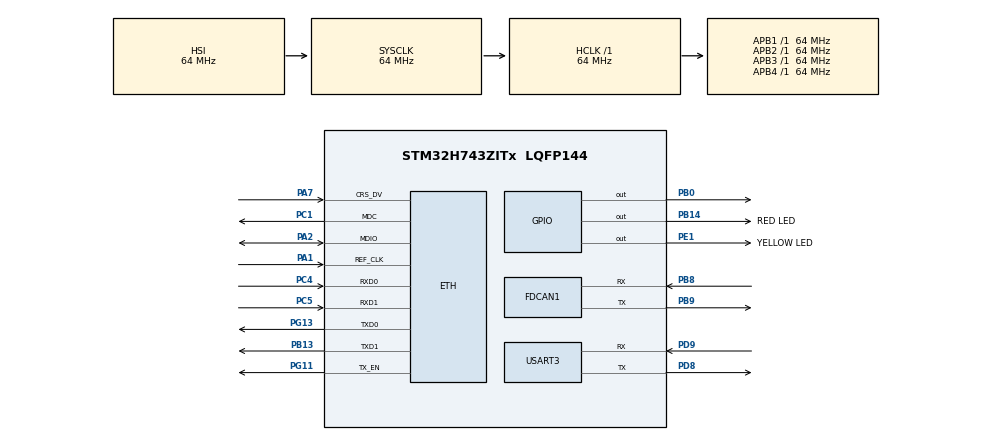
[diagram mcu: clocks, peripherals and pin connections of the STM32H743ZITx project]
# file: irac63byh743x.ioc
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CORTEX_M7.AccessPermission-Cortex_Memory_Protection_Unit_Region0_Settings=MPU_REGION_FULL_ACCESS
CORTEX_M7.AccessPermission-Cortex_Memory_Protection_Unit_Region1_Settings=MPU_REGION_FULL_ACCESS
CORTEX_M7.BaseAddress-Cortex_Memory_Protection_Unit_Region0_Settings=0x30040000
CORTEX_M7.BaseAddress-Cortex_Memory_Protection_Unit_Region1_Settings=0x30044000
CORTEX_M7.CPU_DCache=Enabled
CORTEX_M7.CPU_ICache=Enabled
CORTEX_M7.DisableExec-Cortex_Memory_Protection_Unit_Region0_Settings=MPU_INSTRUCTION_ACCESS_ENABLE
CORTEX_M7.DisableExec-Cortex_Memory_Protection_Unit_Region1_Settings=MPU_INSTRUCTION_ACCESS_ENABLE
CORTEX_M7.Enable-Cortex_Memory_Protection_Unit_Region0_Settings=MPU_REGION_ENABLE
CORTEX_M7.Enable-Cortex_Memory_Protection_Unit_Region1_Settings=MPU_REGION_ENABLE
CORTEX_M7.IsBufferable-Cortex_Memory_Protection_Unit_Region0_Settings=MPU_ACCESS_NOT_BUFFERABLE
CORTEX_M7.IsBufferable-Cortex_Memory_Protection_Unit_Region1_Settings=MPU_ACCESS_NOT_BUFFERABLE
CORTEX_M7.IsCacheable-Cortex_Memory_Protection_Unit_Region1_Settings=MPU_ACCESS_CACHEABLE
CORTEX_M7.IsShareable-Cortex_Memory_Protection_Unit_Region1_Settings=MPU_ACCESS_NOT_SHAREABLE
CORTEX_M7.MPU_Control=MPU_PRIVILEGED_DEFAULT
CORTEX_M7.Size-Cortex_Memory_Protection_Unit_Region0_Settings=MPU_REGION_SIZE_16KB
CORTEX_M7.Size-Cortex_Memory_Protection_Unit_Region1_Settings=MPU_REGION_SIZE_16KB
CORTEX_M7.TypeExtField-Cortex_Memory_Protection_Unit_Region0_Settings=MPU_TEX_LEVEL1
CORTEX_M7.TypeExtField-Cortex_Memory_Protection_Unit_Region1_Settings=MPU_TEX_LEVEL0
ETH.MediaInterface=HAL_ETH_RMII_MODE
FDCAN1.AutoRetransmission=ENABLE
FDCAN1.DataPrescaler=32
FDCAN1.DataSyncJumpWidth=8
FDCAN1.DataTimeSeg1=31
FDCAN1.DataTimeSeg2=8
FDCAN1.ExtFiltersNbr=0
FDCAN1.NominalPrescaler=32
FDCAN1.NominalSyncJumpWidth=8
FDCAN1.NominalTimeSeg1=31
FDCAN1.NominalTimeSeg2=8
FDCAN1.ProtocolException=ENABLE
FDCAN1.RxBufferSize=FDCAN_DATA_BYTES_8
FDCAN1.RxBuffersNbr=1
FDCAN1.RxFifo0ElmtSize=FDCAN_DATA_BYTES_8
FDCAN1.RxFifo0ElmtsNbr=2
FDCAN1.RxFifo1ElmtSize=FDCAN_DATA_BYTES_8
FDCAN1.RxFifo1ElmtsNbr=2
FDCAN1.StdFiltersNbr=0
FDCAN1.TxBuffersNbr=1
FDCAN1.TxElmtSize=FDCAN_DATA_BYTES_8
FDCAN1.TxEventsNbr=2
FDCAN1.TxFifoQueueElmtsNbr=2
LWIP.BSP.number=1
LWIP.LWIP_SNMP=1
LWIP.LWIP_SNMP_V3=0
LWIP.Version=v2.0.3_Cube
LWIP0.BSP.STBoard=false
LWIP0.BSP.api=BSP_COMPONENT_DRIVER
LWIP0.BSP.component=LAN8742
LWIP0.BSP.i2caddr=0
LWIP0.BSP.instance=LAN8742
LWIP0.BSP.name=Driver_PHY
LWIP0.BSP.solution=LAN8742
Mcu.Family=STM32H7
Mcu.Name=STM32H743ZITx
Mcu.Package=LQFP144
NVIC.ETH_IRQn=true\:0\:0\:false\:false\:true\:true\:true
NVIC.FDCAN1_IT0_IRQn=true\:0\:0\:false\:false\:true\:true\:true
NVIC.FDCAN1_IT1_IRQn=true\:0\:0\:false\:false\:true\:true\:true
NVIC.FDCAN_CAL_IRQn=true\:0\:0\:false\:false\:true\:true\:true
NVIC.PriorityGroup=NVIC_PRIORITYGROUP_4
NVIC.USART3_IRQn=true\:0\:0\:false\:false\:true\:true\:true
PA1.Mode=RMII
PA1.Signal=ETH_REF_CLK
PA2.Mode=RMII
PA2.Signal=ETH_MDIO
PA7.Mode=RMII
PA7.Signal=ETH_CRS_DV
PB0.Signal=GPIO_Output
PB13.Mode=RMII
PB13.Signal=ETH_TXD1
PB14.GPIO_Label=RED LED
PB14.Signal=GPIO_Output
PB8.Mode=FDCANMaster
PB8.Signal=FDCAN1_RX
PB9.Mode=FDCANMaster
PB9.Signal=FDCAN1_TX
PC1.Mode=RMII
PC1.Signal=ETH_MDC
PC4.Mode=RMII
PC4.Signal=ETH_RXD0
PC5.Mode=RMII
PC5.Signal=ETH_RXD1
PD8.Mode=Asynchronous
PD8.Signal=USART3_TX
PD9.Mode=Asynchronous
PD9.Signal=USART3_RX
PE1.GPIO_Label=YELLOW LED
PE1.Signal=GPIO_Output
PG11.Mode=RMII
PG11.Signal=ETH_TX_EN
PG13.Mode=RMII
PG13.Signal=ETH_TXD0
ProjectManager.HeapSize=0x200
ProjectManager.StackSize=0x400
ProjectManager.TargetToolchain=STM32CubeIDE
RCC.ADCFreq_Value=129000000
RCC.APB1Freq_Value=64000000
RCC.APB2Freq_Value=64000000
RCC.APB3Freq_Value=64000000
RCC.APB4Freq_Value=64000000
RCC.CortexFreq_Value=64000000
RCC.DIVM1=4
RCC.DIVN1=10
RCC.HCLKFreq_Value=64000000
RCC.SYSCLKFreq_VALUE=64000000
RCC.USBFreq_Value=80000000
USART3.VirtualMode-Asynchronous=VM_ASYNC
VP_LWIP_VS_Enabled.Mode=Enabled
board=custom

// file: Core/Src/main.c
/* USER CODE BEGIN Header */
/**
  ******************************************************************************
  * @file           : main.c
  * @brief          : Main program body
  ******************************************************************************
  * @attention
  *
  * <h2><center>&copy; Copyright (c) 2020 STMicroelectronics.
  * All rights reserved.</center></h2>
  *
  * This software component is licensed by ST under BSD 3-Clause license,
  * the "License"; You may not use this file except in compliance with the
  * License. You may obtain a copy of the License at:
  *                        opensource.org/licenses/BSD-3-Clause
  *
  ******************************************************************************
  */
/* USER CODE END Header */

#include "main.h"
#include "lwip.h"

/* USER CODE BEGIN Includes */
#include "stdio.h"
#include "stdlib.h"
#include "string.h"
#include "snmp_mib2.h"
#include "snmp_scalar.h"
#include "snmp.h"
#include "bzQueue.h"
/* USER CODE END Includes */

/* USER CODE BEGIN PTD */
typedef enum {
	emLED_RED		= 0,
	emLED_YELLOW,
	emLED_GREEN,
	emLED_ID_NUM,
} LEDId;

typedef enum {
	emLED_ON		= 0,
	emLED_OFF,
	emLED_ST_NUM,
} LEDStatus;
/* USER CODE END PTD */

/* USER CODE BEGIN PD */
#define MAX_CMD_LEN	(32)

#define MAX_DHCP_TRIES  4
#define DHCP_OFF                   (uint8_t) 0
#define DHCP_START                 (uint8_t) 1
#define DHCP_WAIT_ADDRESS          (uint8_t) 2
#define DHCP_ADDRESS_ASSIGNED      (uint8_t) 3
#define DHCP_TIMEOUT               (uint8_t) 4
#define DHCP_LINK_DOWN             (uint8_t) 5

/*Static IP ADDRESS*/
#define IP_ADDR0   192
#define IP_ADDR1   168
#define IP_ADDR2   0
#define IP_ADDR3   10

/*NETMASK*/
#define NETMASK_ADDR0   255
#define NETMASK_ADDR1   255
#define NETMASK_ADDR2   255
#define NETMASK_ADDR3   0

/*Gateway Address*/
#define GW_ADDR0   192
#define GW_ADDR1   168
#define GW_ADDR2   0
#define GW_ADDR3   1

#define MAX_ALINK_IDS	32

#define SNMP_STR_MAX	16
/* USER CODE END PD */

FDCAN_HandleTypeDef hfdcan1;

UART_HandleTypeDef huart3;

/* USER CODE BEGIN PV */
extern struct netif gnetif;
uint8_t  is_ip_addr_acquired = 0;
uint8_t  usart3_1char[1];
uint8_t  cmdLen = 0;
uint8_t  cmdBuf[MAX_CMD_LEN];
bzSimpleQueue_new(int, cmdQue, MAX_CMD_LEN);

struct netif *netif = (struct netif *)&gnetif;
ip_addr_t ipaddr;
ip_addr_t netmask;
ip_addr_t gw;
struct dhcp *dhcp;
uint8_t DHCP_state = DHCP_START;

FDCAN_RxHeaderTypeDef RxHeader;
uint8_t RxData[12];

struct {
	uint32_t id;
	uint32_t counts;
} alinks[MAX_ALINK_IDS];
int nbr_of_alinks = 0;

//Functions prototypes
static s16_t get_switches_value(struct snmp_node_instance* instance, void* value);
static s16_t get_leds_value(struct snmp_node_instance* instance, void* value);
static snmp_err_t set_leds_value(struct snmp_node_instance* instance, u16_t len, void *value);
/*----------------------------------------------------------------------------*/
/* led .1.3.6.1.4.1.26381.1.1 */
//static const struct snmp_scalar_node leds_node = SNMP_SCALAR_CREATE_NODE_READONLY( 1, SNMP_ASN1_TYPE_INTEGER, get_leds_value);
/* led .1.3.6.1.4.1.26381.1.1 */
//#define SNMP_SCALAR_CREATE_NODE(oid, access, asn1_type, get_value_method, set_test_method, set_value_method)
static const struct snmp_scalar_node leds_node = SNMP_SCALAR_CREATE_NODE(
1, SNMP_NODE_INSTANCE_READ_WRITE, SNMP_ASN1_TYPE_INTEGER, get_leds_value, NULL, set_leds_value);
/* led .1.3.6.1.4.1.26381.1.2 */
static const struct snmp_scalar_node switches_node = SNMP_SCALAR_CREATE_NODE_READONLY( 2, SNMP_ASN1_TYPE_INTEGER, get_switches_value);
/* led nodes  .1.3.6.1.4.1.26381.1 */
static const struct snmp_node* const gpio_nodes[] = { &switches_node.node.node, &leds_node.node.node };
static const struct snmp_tree_node gpio_tree_node = SNMP_CREATE_TREE_NODE(1, gpio_nodes);
static const u32_t my_base_oid[] = { 1, 3, 6, 1, 4, 1, 26381, 1 };
const struct snmp_mib gpio_mib = SNMP_MIB_CREATE(my_base_oid, &gpio_tree_node.node);

static const struct snmp_mib *my_snmp_mibs[] = { &mib2, &gpio_mib };
u8_t * syscontact_str = (u8_t*) "admin";
u16_t syscontact_len = sizeof("admin");
u8_t * syslocation_str = (u8_t*) "BZ none RTOS LWIP SNMP";
u16_t syslocation_len = sizeof("BZ none RTOS LWIP SNMP");
u8_t * sysname_str = (u8_t*) "botong";
u16_t sysname_len = sizeof("botong");
u16_t bufsize = 64;
const u8_t * sysdescr = (u8_t*) "irac36 snmp demo";
const u16_t sysdescr_len = sizeof("irac36 snmp demo");
/* USER CODE END PV */

void SystemClock_Config(void);
static void MPU_Config(void);
static void MX_GPIO_Init(void);
static void MX_FDCAN1_Init(void);
static void MX_USART3_UART_Init(void);

/* USER CODE BEGIN 0 */
void HAL_UART_RxCpltCallback(UART_HandleTypeDef *huart) {
	if (huart == &huart3) {
		//isOneCharReceived = 1;

		HAL_UART_Receive_IT(&huart3, usart3_1char, 1);

		bzSimpleQueue_push(int, cmdQue, usart3_1char[0]);
	} else ;
}

void HAL_FDCAN_RxFifo0Callback(FDCAN_HandleTypeDef *hfdcan, uint32_t RxFifo0ITs) {
	if (hfdcan == &hfdcan1) {
		if (HAL_FDCAN_GetRxMessage(&hfdcan1, FDCAN_RX_FIFO0, &RxHeader, RxData) == HAL_OK) {
			int i = 0;
			for (; i < nbr_of_alinks; i++)
				if (alinks[i].id == RxHeader.Identifier)
					break;
		    if (nbr_of_alinks == 0 || i >= nbr_of_alinks) {
		    	alinks[nbr_of_alinks].id = RxHeader.Identifier;
		    	alinks[nbr_of_alinks].counts = 1;
		    	nbr_of_alinks++;
		    } else {
		    	alinks[i].counts++;
		    }
		}

		/* Activate Rx FIFO 0 watermark notification */
		HAL_FDCAN_ActivateNotification(hfdcan, FDCAN_IT_RX_FIFO0_WATERMARK, 0);
	}
}

//void HAL_UART_TxCpltCallback(UART_HandleTypeDef *huart) {
//	if (huart == &huart2) {
//	} else if (huart == &huart3) {
//		// pass by
//	} else {
//		// pass by
//	}
//}

int __io_putchar(int ch) {
	return HAL_UART_Transmit(&huart3, (uint8_t*)&ch, 1, 5);
}

void show_splash_window(void) {
	printf("\033[2J");
	printf("\r\n******************************");
	printf("\r\n*                            *");
	printf("\r\n*  STM32H743x Tutorial       *");
	printf("\r\n*                            *");
	printf("\r\n* - LWIP      2.0.3          *");
	printf("\r\n* - BZoops    1.0.0          *");
	printf("\r\n*                            *");
	printf("\r\n* 98440622@163.com copyright *");
	printf("\r\n*   HAPPY COVID-19 YEAR!     *");
	printf("\r\n*                            *");
	printf("\r\n******************************\r\n\r\n");
	HAL_UART_Transmit(&huart3, (uint8_t*)"->", 2, 10);
}

void toggle_led(LEDId id) {
	switch (id) {
	case emLED_RED:
		HAL_GPIO_TogglePin(GPIOB, GPIO_PIN_14);
		break;
	case emLED_GREEN:
		HAL_GPIO_TogglePin(GPIOB, GPIO_PIN_0);
		break;
	case emLED_YELLOW:
		HAL_GPIO_TogglePin(GPIOE, GPIO_PIN_1);
		break;
	default:
		break;
	}
}

void set_led(LEDId id, LEDStatus st) {
	switch (id) {
	case emLED_RED:
		HAL_GPIO_WritePin(GPIOB, GPIO_PIN_14, !st
				? GPIO_PIN_SET : GPIO_PIN_RESET);
		break;
	case emLED_GREEN:
		HAL_GPIO_WritePin(GPIOB, GPIO_PIN_0, !st
				? GPIO_PIN_SET : GPIO_PIN_RESET);
		break;
	case emLED_YELLOW:
		HAL_GPIO_WritePin(GPIOE, GPIO_PIN_1, !st
				? GPIO_PIN_SET : GPIO_PIN_RESET);
		break;
	default:
		break;
	}
}

/* switches value .1.3.6.1.4.1.26381.1.2.0 */
static s16_t get_switches_value(struct snmp_node_instance* instance, void* value) {
    u32_t *uint_ptr = (u32_t*) value;
    *uint_ptr = 0;
    return sizeof(*uint_ptr);
}
/* leds value .1.3.6.1.4.1.26381.1.1.0 */
static s16_t get_leds_value(struct snmp_node_instance* instance, void* value) {
    u32_t *uint_ptr = (u32_t*) value;
    *uint_ptr = 1;
    return sizeof(*uint_ptr);
}
static snmp_err_t set_leds_value(struct snmp_node_instance* instance, u16_t len, void *value) {
    u32_t val = *((u32_t*)value);
    if (val)
    	set_led(emLED_YELLOW, emLED_ON);
    else
    	set_led(emLED_YELLOW, emLED_OFF);
    return SNMP_ERR_NOERROR;
}
/* USER CODE END 0 */

int main(void)
{

  /* MPU Configuration--------------------------------------------------------*/
  MPU_Config();

  /* Enable I-Cache---------------------------------------------------------*/
  SCB_EnableICache();

  /* Enable D-Cache---------------------------------------------------------*/
  SCB_EnableDCache();

  /* MCU Configuration--------------------------------------------------------*/

  /* Reset of all peripherals, Initializes the Flash interface and the Systick. */
  HAL_Init();

  /* Configure the system clock */
  SystemClock_Config();

  /* USER CODE BEGIN SysInit */
  /* Enable D2 domain SRAM3 Clock (0x30040000 AXI)*/
  __HAL_RCC_D2SRAM3_CLK_ENABLE();
  /* USER CODE END SysInit */

  /* Initialize all configured peripherals */
  MX_GPIO_Init();
  MX_FDCAN1_Init();
  MX_USART3_UART_Init();
  MX_LWIP_Init();
  /* USER CODE BEGIN 2 */
  {
	  /* Configure Rx FIFO 0 watermark to 2 */
	  HAL_FDCAN_ConfigFifoWatermark(&hfdcan1, FDCAN_CFG_RX_FIFO0, 2);

	  /* Activate Rx FIFO 0 watermark notification */
	  HAL_FDCAN_ActivateNotification(&hfdcan1, FDCAN_IT_RX_FIFO0_WATERMARK, 0);

	  HAL_FDCAN_Start(&hfdcan1);

	  HAL_UART_Receive_IT(&huart3, usart3_1char, 1);
  }
  /* USER CODE END 2 */

  /* Infinite loop */
  /* USER CODE BEGIN WHILE */
  show_splash_window();
  while (1)
  {
    /* USER CODE END WHILE */

    /* USER CODE BEGIN 3 */
	{
		static uint32_t pre_tick 					= 0;
		static uint32_t _1s_counter_by_systick 		= 1000;
		static uint32_t _500ms_counter_by_systick	= 500;
		static uint32_t _1m_counter_by_systick		= 60000;
		uint32_t 		cur_tick 					= HAL_GetTick();

		if (pre_tick != cur_tick) {
			if (_1s_counter_by_systick == 0) {
				// 1 second timer fired

				// reload counter
				_1s_counter_by_systick = 1000;
			} else ;

			_1s_counter_by_systick = (_1s_counter_by_systick > 0) ?
					_1s_counter_by_systick - 1 : 0;

			if (_500ms_counter_by_systick == 0) {
				// .5 second timer fired
				dhcp_fine_tmr();
				toggle_led(emLED_GREEN);

				{
				    switch (DHCP_state)
				    {
				    case DHCP_START:
				      {
				        ip_addr_set_zero_ip4(&netif->ip_addr);
				        ip_addr_set_zero_ip4(&netif->netmask);
				        ip_addr_set_zero_ip4(&netif->gw);
				        DHCP_state = DHCP_WAIT_ADDRESS;

				        dhcp_start(netif);
				      }
				      break;
				    case DHCP_WAIT_ADDRESS:
				      {
				        if (dhcp_supplied_address(netif))
				        {
				          DHCP_state = DHCP_ADDRESS_ASSIGNED;
				          printf("\r\n" "\033[0;32m" "IP is acquired." "\033[0m" "\r\n");

				          {
				        	  // start SNMP agent
				        	  //proto: void	snmp_mib2_set_syscontact(u8_t *ocstr, u16_t *ocstrlen, u16_t bufsize)
				        	  snmp_mib2_set_syscontact(syscontact_str, &syscontact_len, bufsize);
				        	  //proto: void	snmp_mib2_set_syslocation(u8_t *ocstr, u16_t *ocstrlen, u16_t bufsize)
				        	  snmp_mib2_set_syslocation(syslocation_str, &syslocation_len, bufsize);
				        	  //proto: void snmp_set_auth_traps_enabled(u8_t enable)
				        	  //set to 0 when disabled, >0 when enabled
				        	  snmp_set_auth_traps_enabled(ENABLE);
				        	  //proto: void snmp_mib2_set_sysdescr(const u8_t *str, const u16_t *len)
				        	  snmp_mib2_set_sysdescr(sysdescr, &sysdescr_len);
				        	  //proto: void snmp_mib2_set_sysname(u8_t *ocstr, u16_t *ocstrlen, u16_t bufsize)
				        	  snmp_mib2_set_sysname(sysname_str, &sysname_len, bufsize);
				        	  //proto: void snmp_trap_dst_ip_set(u8_t dst_idx, const ip_addr_t *dst)
				        	  snmp_trap_dst_ip_set(0, &netif->gw);
				        	  snmp_trap_dst_enable(0, ENABLE);
				        	  snmp_set_mibs(my_snmp_mibs, LWIP_ARRAYSIZE(my_snmp_mibs));
				        	  snmp_init(); //Just after udp_init

				        	  printf("\033[0;32mSNMP initialization completed.\033[0m\r\n;");
				          }
				        }
				        else
				        {
				          dhcp = (struct dhcp *)netif_get_client_data(netif, LWIP_NETIF_CLIENT_DATA_INDEX_DHCP);

				          /* DHCP timeout */
				          if (dhcp->tries > MAX_DHCP_TRIES)
				          {
				            DHCP_state = DHCP_TIMEOUT;

				            /* Stop DHCP */
				            dhcp_stop(netif);

				            /* Static address used */
				            IP_ADDR4(&ipaddr, IP_ADDR0 ,IP_ADDR1 , IP_ADDR2 , IP_ADDR3 );
				            IP_ADDR4(&netmask, NETMASK_ADDR0, NETMASK_ADDR1, NETMASK_ADDR2, NETMASK_ADDR3);
				            IP_ADDR4(&gw, GW_ADDR0, GW_ADDR1, GW_ADDR2, GW_ADDR3);
				            netif_set_addr(netif, ip_2_ip4(&ipaddr), ip_2_ip4(&netmask), ip_2_ip4(&gw));

				            printf("\r\nDHCP timeout.\r\n");
				          }
				        }
				      }
				      break;
				  case DHCP_LINK_DOWN:
				    {
				      /* Stop DHCP */
				      dhcp_stop(netif);
				      DHCP_state = DHCP_OFF;
				    }
				    break;
				    default: break;
				    }
				}

				// reload counter
				_500ms_counter_by_systick = 500;
			} else ;

			_500ms_counter_by_systick = (_500ms_counter_by_systick > 0) ?
					_500ms_counter_by_systick - 1 : 0;

			if (_1m_counter_by_systick == 0) {
				// 1 minute timer fired
				dhcp_coarse_tmr();

				// reload counter
				_1m_counter_by_systick = 60000;
			} else ;

			_1m_counter_by_systick = (_1m_counter_by_systick > 0) ?
					_1m_counter_by_systick - 1 : 0;
		} else ;

		pre_tick = cur_tick;
	}

	MX_LWIP_Process();

	{
		if (!bzSimpleQueue_isEmpty(cmdQue)) {
			uint8_t ch = 0;
			bzSimpleQueue_pop(uint8_t, cmdQue, ch);
			switch (ch) {
			case '\r':
				if (cmdLen > 0) {
					cmdBuf[cmdLen] = '\0';
					printf("\r\n");

					// TODO : user commands
					if (!strcmp((char*)cmdBuf, "ifconfig")) {
						if (netif_is_link_up(&gnetif)) {
							int i = 0;
							struct dhcp* dhcp_info = netif_dhcp_data(&gnetif);

							printf("MAC : ");
							for (i = 0; i < 6; i++) {
								printf("%02x", gnetif.hwaddr[i]);
								if (i < 5)
									printf(":");
							}
							printf("\r\n");

							printf("IP  : ");
							for (i = 0; i < 4; i++) {
								printf("%d", (int)((dhcp_info->offered_ip_addr.addr >> (8 * i)) & 0x000000FF));
								if (i < 3)
									printf(".");
							}
							printf("\r\n");

							printf("SNSK: ");
							for (i = 0; i < 4; i++) {
								printf("%d", (int)((dhcp_info->offered_sn_mask.addr >> (8 * i)) & 0x000000FF));
								if (i < 3)
									printf(".");
							}
							printf("\r\n");

							printf("GTWY: ");
							for (i = 0; i < 4; i++) {
								printf("%d", (int)((dhcp_info->offered_gw_addr.addr >> (8 * i)) & 0x000000FF));
								if (i < 3)
									printf(".");
							}
							printf("\r\n");
						} else {
							printf("network is not connected\r\n");
						}
						printf("\r\n");
					} else if (!strcmp((char*)cmdBuf, "alink")) {
						int i = 0;
						printf("alink message statistic:\r\n");
						for (; i < nbr_of_alinks; i++) {
							printf("0x%08x %d\r\n", (unsigned int)alinks[i].id, (int)alinks[i].counts);
						}
					} else {
						printf("%s\r\n", cmdBuf);
						HAL_UART_Transmit(&huart3, (uint8_t*)"->", 2, 10);
					}
				} else {
					HAL_UART_Transmit(&huart3, (uint8_t*)"\r\n->", 4, 10);
				}

				cmdLen = 0;
				break;
			case '\b':
				if (cmdLen > 0) {
					HAL_UART_Transmit(&huart3, (uint8_t*)"\b \b", 3, 10);
					cmdLen--;
				}
				break;
			default:
				if (ch >= ' ' && ch <= '~') {
					cmdBuf[cmdLen++] = ch;
					HAL_UART_Transmit(&huart3, &ch, 1, 10);
					if (cmdLen == MAX_CMD_LEN - 1) {
						cmdLen = 0;
					}
				}
				break;
			}

		} else ;
	}
  }
  /* USER CODE END 3 */
}

void SystemClock_Config(void)
{
  RCC_OscInitTypeDef RCC_OscInitStruct = {0};
  RCC_ClkInitTypeDef RCC_ClkInitStruct = {0};
  RCC_PeriphCLKInitTypeDef PeriphClkInitStruct = {0};

  /** Supply configuration update enable
  */
  HAL_PWREx_ConfigSupply(PWR_LDO_SUPPLY);
  /** Configure the main internal regulator output voltage
  */
  __HAL_PWR_VOLTAGESCALING_CONFIG(PWR_REGULATOR_VOLTAGE_SCALE3);

  while(!__HAL_PWR_GET_FLAG(PWR_FLAG_VOSRDY)) {}
  /** Initializes the CPU, AHB and APB busses clocks
  */
  RCC_OscInitStruct.OscillatorType = RCC_OSCILLATORTYPE_HSI;
  RCC_OscInitStruct.HSIState = RCC_HSI_DIV1;
  RCC_OscInitStruct.HSICalibrationValue = RCC_HSICALIBRATION_DEFAULT;
  RCC_OscInitStruct.PLL.PLLState = RCC_PLL_ON;
  RCC_OscInitStruct.PLL.PLLSource = RCC_PLLSOURCE_HSI;
  RCC_OscInitStruct.PLL.PLLM = 4;
  RCC_OscInitStruct.PLL.PLLN = 10;
  RCC_OscInitStruct.PLL.PLLP = 2;
  RCC_OscInitStruct.PLL.PLLQ = 2;
  RCC_OscInitStruct.PLL.PLLR = 2;
  RCC_OscInitStruct.PLL.PLLRGE = RCC_PLL1VCIRANGE_3;
  RCC_OscInitStruct.PLL.PLLVCOSEL = RCC_PLL1VCOMEDIUM;
  RCC_OscInitStruct.PLL.PLLFRACN = 0;
  if (HAL_RCC_OscConfig(&RCC_OscInitStruct) != HAL_OK)
  {
    Error_Handler();
  }
  /** Initializes the CPU, AHB and APB busses clocks
  */
  RCC_ClkInitStruct.ClockType = RCC_CLOCKTYPE_HCLK|RCC_CLOCKTYPE_SYSCLK
                              |RCC_CLOCKTYPE_PCLK1|RCC_CLOCKTYPE_PCLK2
                              |RCC_CLOCKTYPE_D3PCLK1|RCC_CLOCKTYPE_D1PCLK1;
  RCC_ClkInitStruct.SYSCLKSource = RCC_SYSCLKSOURCE_HSI;
  RCC_ClkInitStruct.SYSCLKDivider = RCC_SYSCLK_DIV1;
  RCC_ClkInitStruct.AHBCLKDivider = RCC_HCLK_DIV1;
  RCC_ClkInitStruct.APB3CLKDivider = RCC_APB3_DIV1;
  RCC_ClkInitStruct.APB1CLKDivider = RCC_APB1_DIV1;
  RCC_ClkInitStruct.APB2CLKDivider = RCC_APB2_DIV1;
  RCC_ClkInitStruct.APB4CLKDivider = RCC_APB4_DIV1;

  if (HAL_RCC_ClockConfig(&RCC_ClkInitStruct, FLASH_LATENCY_0) != HAL_OK)
  {
    Error_Handler();
  }
  PeriphClkInitStruct.PeriphClockSelection = RCC_PERIPHCLK_USART3|RCC_PERIPHCLK_FDCAN;
  PeriphClkInitStruct.FdcanClockSelection = RCC_FDCANCLKSOURCE_PLL;
  PeriphClkInitStruct.Usart234578ClockSelection = RCC_USART234578CLKSOURCE_D2PCLK1;
  if (HAL_RCCEx_PeriphCLKConfig(&PeriphClkInitStruct) != HAL_OK)
  {
    Error_Handler();
  }
}

static void MX_FDCAN1_Init(void)
{

  hfdcan1.Instance = FDCAN1;
  hfdcan1.Init.FrameFormat = FDCAN_FRAME_CLASSIC;
  hfdcan1.Init.Mode = FDCAN_MODE_NORMAL;
  hfdcan1.Init.AutoRetransmission = ENABLE;
  hfdcan1.Init.TransmitPause = DISABLE;
  hfdcan1.Init.ProtocolException = ENABLE;
  hfdcan1.Init.NominalPrescaler = 32;
  hfdcan1.Init.NominalSyncJumpWidth = 8;
  hfdcan1.Init.NominalTimeSeg1 = 31;
  hfdcan1.Init.NominalTimeSeg2 = 8;
  hfdcan1.Init.DataPrescaler = 32;
  hfdcan1.Init.DataSyncJumpWidth = 8;
  hfdcan1.Init.DataTimeSeg1 = 31;
  hfdcan1.Init.DataTimeSeg2 = 8;
  hfdcan1.Init.MessageRAMOffset = 0;
  hfdcan1.Init.StdFiltersNbr = 0;
  hfdcan1.Init.ExtFiltersNbr = 0;
  hfdcan1.Init.RxFifo0ElmtsNbr = 2;
  hfdcan1.Init.RxFifo0ElmtSize = FDCAN_DATA_BYTES_8;
  hfdcan1.Init.RxFifo1ElmtsNbr = 2;
  hfdcan1.Init.RxFifo1ElmtSize = FDCAN_DATA_BYTES_8;
  hfdcan1.Init.RxBuffersNbr = 1;
  hfdcan1.Init.RxBufferSize = FDCAN_DATA_BYTES_8;
  hfdcan1.Init.TxEventsNbr = 2;
  hfdcan1.Init.TxBuffersNbr = 1;
  hfdcan1.Init.TxFifoQueueElmtsNbr = 2;
  hfdcan1.Init.TxFifoQueueMode = FDCAN_TX_FIFO_OPERATION;
  hfdcan1.Init.TxElmtSize = FDCAN_DATA_BYTES_8;
  if (HAL_FDCAN_Init(&hfdcan1) != HAL_OK)
  {
    Error_Handler();
  }

}

static void MX_USART3_UART_Init(void)
{

  huart3.Instance = USART3;
  huart3.Init.BaudRate = 115200;
  huart3.Init.WordLength = UART_WORDLENGTH_8B;
  huart3.Init.StopBits = UART_STOPBITS_1;
  huart3.Init.Parity = UART_PARITY_NONE;
  huart3.Init.Mode = UART_MODE_TX_RX;
  huart3.Init.HwFlowCtl = UART_HWCONTROL_NONE;
  huart3.Init.OverSampling = UART_OVERSAMPLING_16;
  huart3.Init.OneBitSampling = UART_ONE_BIT_SAMPLE_DISABLE;
  huart3.Init.ClockPrescaler = UART_PRESCALER_DIV1;
  huart3.AdvancedInit.AdvFeatureInit = UART_ADVFEATURE_NO_INIT;
  if (HAL_UART_Init(&huart3) != HAL_OK)
  {
    Error_Handler();
  }
  if (HAL_UARTEx_SetTxFifoThreshold(&huart3, UART_TXFIFO_THRESHOLD_1_8) != HAL_OK)
  {
    Error_Handler();
  }
  if (HAL_UARTEx_SetRxFifoThreshold(&huart3, UART_RXFIFO_THRESHOLD_1_8) != HAL_OK)
  {
    Error_Handler();
  }
  if (HAL_UARTEx_DisableFifoMode(&huart3) != HAL_OK)
  {
    Error_Handler();
  }

}

static void MX_GPIO_Init(void)
{
  GPIO_InitTypeDef GPIO_InitStruct = {0};

  /* GPIO Ports Clock Enable */
  __HAL_RCC_GPIOC_CLK_ENABLE();
  __HAL_RCC_GPIOA_CLK_ENABLE();
  __HAL_RCC_GPIOB_CLK_ENABLE();
  __HAL_RCC_GPIOD_CLK_ENABLE();
  __HAL_RCC_GPIOG_CLK_ENABLE();
  __HAL_RCC_GPIOE_CLK_ENABLE();

  /*Configure GPIO pin Output Level */
  HAL_GPIO_WritePin(GPIOB, GPIO_PIN_0|RED_LED_Pin, GPIO_PIN_RESET);

  /*Configure GPIO pin Output Level */
  HAL_GPIO_WritePin(YELLOW_LED_GPIO_Port, YELLOW_LED_Pin, GPIO_PIN_RESET);

  /*Configure GPIO pins : PB0 RED_LED_Pin */
  GPIO_InitStruct.Pin = GPIO_PIN_0|RED_LED_Pin;
  GPIO_InitStruct.Mode = GPIO_MODE_OUTPUT_PP;
  GPIO_InitStruct.Pull = GPIO_NOPULL;
  GPIO_InitStruct.Speed = GPIO_SPEED_FREQ_LOW;
  HAL_GPIO_Init(GPIOB, &GPIO_InitStruct);

  /*Configure GPIO pin : YELLOW_LED_Pin */
  GPIO_InitStruct.Pin = YELLOW_LED_Pin;
  GPIO_InitStruct.Mode = GPIO_MODE_OUTPUT_PP;
  GPIO_InitStruct.Pull = GPIO_NOPULL;
  GPIO_InitStruct.Speed = GPIO_SPEED_FREQ_LOW;
  HAL_GPIO_Init(YELLOW_LED_GPIO_Port, &GPIO_InitStruct);

}

/* MPU Configuration */

void MPU_Config(void)
{
  MPU_Region_InitTypeDef MPU_InitStruct = {0};

  /* Disables the MPU */
  HAL_MPU_Disable();
  /** Initializes and configures the Region and the memory to be protected
  */
  MPU_InitStruct.Enable = MPU_REGION_ENABLE;
  MPU_InitStruct.Number = MPU_REGION_NUMBER0;
  MPU_InitStruct.BaseAddress = 0x30040000;
  MPU_InitStruct.Size = MPU_REGION_SIZE_16KB;
  MPU_InitStruct.SubRegionDisable = 0x0;
  MPU_InitStruct.TypeExtField = MPU_TEX_LEVEL1;
  MPU_InitStruct.AccessPermission = MPU_REGION_FULL_ACCESS;
  MPU_InitStruct.DisableExec = MPU_INSTRUCTION_ACCESS_ENABLE;
  MPU_InitStruct.IsShareable = MPU_ACCESS_NOT_SHAREABLE;
  MPU_InitStruct.IsCacheable = MPU_ACCESS_NOT_CACHEABLE;
  MPU_InitStruct.IsBufferable = MPU_ACCESS_NOT_BUFFERABLE;

  HAL_MPU_ConfigRegion(&MPU_InitStruct);
  /** Initializes and configures the Region and the memory to be protected
  */
  MPU_InitStruct.Enable = MPU_REGION_ENABLE;
  MPU_InitStruct.Number = MPU_REGION_NUMBER1;
  MPU_InitStruct.BaseAddress = 0x30044000;
  MPU_InitStruct.Size = MPU_REGION_SIZE_16KB;
  MPU_InitStruct.SubRegionDisable = 0x0;
  MPU_InitStruct.TypeExtField = MPU_TEX_LEVEL0;
  MPU_InitStruct.AccessPermission = MPU_REGION_FULL_ACCESS;
  MPU_InitStruct.DisableExec = MPU_INSTRUCTION_ACCESS_ENABLE;
  MPU_InitStruct.IsShareable = MPU_ACCESS_NOT_SHAREABLE;
  MPU_InitStruct.IsCacheable = MPU_ACCESS_CACHEABLE;
  MPU_InitStruct.IsBufferable = MPU_ACCESS_NOT_BUFFERABLE;

  HAL_MPU_ConfigRegion(&MPU_InitStruct);
  /* Enables the MPU */
  HAL_MPU_Enable(MPU_PRIVILEGED_DEFAULT);

}

void Error_Handler(void)
{
}

/************************ (C) COPYRIGHT STMicroelectronics *****END OF FILE****/
